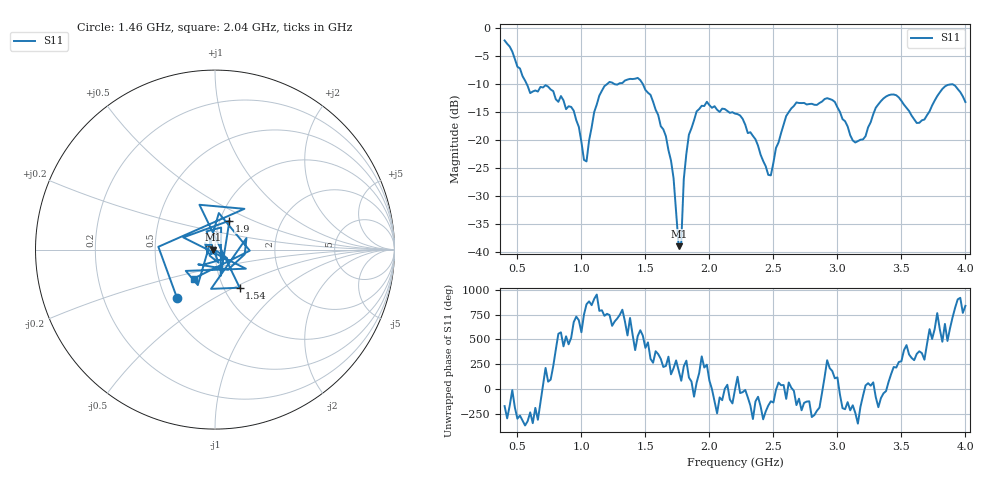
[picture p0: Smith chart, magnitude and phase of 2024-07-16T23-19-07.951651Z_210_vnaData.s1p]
!Created with skrf (http://scikit-rf.org).
# Hz S RI R 50.0
!freq ReS11 ImS11
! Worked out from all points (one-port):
!   181 points, 400 MHz to 4 GHz, reference 50 ohm
!   lowest |S11| = -38.9 dB at 1.76 GHz (marker M1), VSWR 1.02, Z = 48.9 - j0.0672 ohm
!   |S11| at or under -10 dB: 572.8 MHz to 1.201 GHz (628.6 MHz wide, 70.9 % of centre); 1.257 GHz to 1.289 GHz (31.42 MHz wide, 2.47 % of centre); 1.48 GHz to end of sweep
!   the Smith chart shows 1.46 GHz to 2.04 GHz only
!   S11 on the Smith chart (normalised r, x): 1.46 GHz: 0.57, -0.35; 1.54 GHz: 1.19, -0.54; 1.9 GHz: 1.11, +0.37; 2.04 GHz: 0.75, -0.25
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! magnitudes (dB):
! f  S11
! 400 MHz  -2.2
! 600 MHz  -11.6
! 860 MHz  -12.9
! 940 MHz  -14.8
! 1.04 GHz  -23.8
! 1.14 GHz  -12.1
! 1.3 GHz  -9.9
! 1.46 GHz  -9.3
! 1.54 GHz  -11.9
! 1.7 GHz  -23.6
! 1.76 GHz  -38.9
! 1.78 GHz  -38.3
! 1.8 GHz  -26.9
! 1.82 GHz  -22.4
! 1.9 GHz  -14.9
! 2.04 GHz  -14.0
! 2.2 GHz  -15.3
! 2.48 GHz  -26.3
! 2.6 GHz  -15.7
! 2.66 GHz  -13.9
! 2.96 GHz  -12.8
! 3.1 GHz  -19.1
! 3.2 GHz  -19.9
! 3.4 GHz  -12.0
! 3.56 GHz  -14.8
! 3.68 GHz  -16.3
! 3.88 GHz  -10.1
! 4 GHz  -13.2
